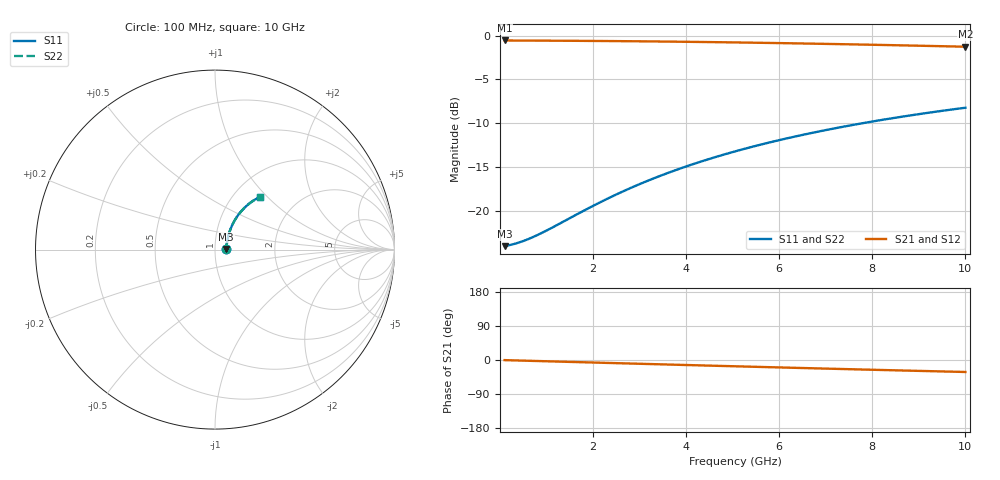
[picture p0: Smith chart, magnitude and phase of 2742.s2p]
# Hz S RI R 50.00
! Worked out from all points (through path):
!   100 points, 100 MHz to 10 GHz, reference 50 ohm
!   highest |S21| = -0.56 dB at 100 MHz (marker M1); lowest = -1.3 dB at 10 GHz (marker M2)
!   group delay of S21, straight-line fit = 8.81 ps
!   lowest |S11| = -24.0 dB at 100 MHz (marker M3), VSWR 1.13, Z = 56.7 + j0.444 ohm
!   |S11| at or under -10 dB: start of sweep to 7.79 GHz
!   |S22| runs from -24.0 to -8.2 dB; largest |S21 - S12| = 0
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1e8  0.0629 0.0039  0.9371 -0.00547  0.9371 -0.00547  0.0629 0.0039
3e8  0.0637 0.0117  0.9363 -0.0164  0.9363 -0.0164  0.0637 0.0117
4e8  0.0641 0.0156  0.9359 -0.0218  0.9359 -0.0218  0.0641 0.0156
5e8  0.0645 0.0194  0.9355 -0.0273  0.9355 -0.0273  0.0645 0.0194
7e8  0.0654 0.0272  0.9346 -0.0381  0.9346 -0.0381  0.0654 0.0272
9e8  0.0663 0.0349  0.9335 -0.049  0.9335 -0.049  0.0663 0.0349
1.1e9  0.0675 0.0426  0.9324 -0.0598  0.9324 -0.0598  0.0675 0.0426
1.8e9  0.0727 0.0691  0.9269 -0.0973  0.9269 -0.0973  0.0727 0.0691
2.2e9  0.0765 0.084  0.9229 -0.1185  0.9229 -0.1185  0.0765 0.084
2.6e9  0.081 0.0987  0.9181 -0.1395  0.9181 -0.1395  0.081 0.0987
3e9  0.0861 0.1131  0.9127 -0.1602  0.9127 -0.1602  0.0861 0.1131
3.4e9  0.0918 0.1272  0.9067 -0.1806  0.9067 -0.1806  0.0918 0.1272
3.8e9  0.0981 0.141  0.9 -0.2006  0.9 -0.2006  0.0981 0.141
4.2e9  0.105 0.1544  0.8927 -0.2203  0.8927 -0.2203  0.105 0.1544
4.6e9  0.1125 0.1674  0.8848 -0.2396  0.8848 -0.2396  0.1125 0.1674
5.1e9  0.1226 0.183  0.8741 -0.2631  0.8741 -0.2631  0.1226 0.183
5.9e9  0.1402 0.2065  0.8553 -0.2993  0.8553 -0.2993  0.1402 0.2065
6.7e9  0.1596 0.2281  0.8346 -0.3335  0.8346 -0.3335  0.1596 0.2281
7.5e9  0.1804 0.2476  0.8123 -0.3657  0.8123 -0.3657  0.1804 0.2476
8.4e9  0.2052 0.2669  0.7856 -0.3994  0.7856 -0.3994  0.2052 0.2669
9.2e9  0.2283 0.2818  0.7607 -0.4271  0.7607 -0.4271  0.2283 0.2818
1e10  0.252 0.2944  0.735 -0.4526  0.735 -0.4526  0.252 0.2944
